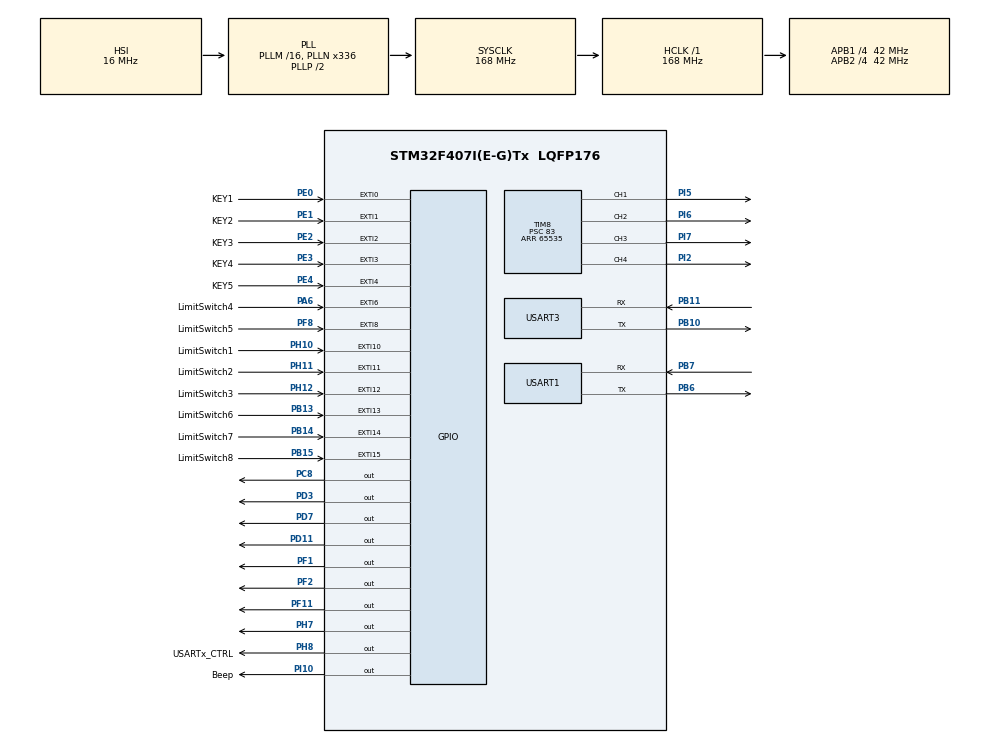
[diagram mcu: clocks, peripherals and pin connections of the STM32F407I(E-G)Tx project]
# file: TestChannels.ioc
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FREERTOS.Tasks01=defaultTask,2,512,StartDefaultTask,Default,NULL,Dynamic,NULL,NULL;LimitSwitch,3,512,StartLimitSwitch,Default,NULL,Dynamic,NULL,NULL;ListenCommand,3,512,StartListenCommand,Default,NULL,Dynamic,NULL,NULL
Mcu.Family=STM32F4
Mcu.Name=STM32F407I(E-G)Tx
Mcu.Package=LQFP176
NVIC.PriorityGroup=NVIC_PRIORITYGROUP_4
NVIC.TIM2_IRQn=true\:15\:0\:false\:false\:true\:false\:false\:true\:true
NVIC.TIM8_BRK_TIM12_IRQn=true\:5\:0\:false\:false\:true\:true\:true\:true\:true
NVIC.TIM8_CC_IRQn=true\:5\:0\:false\:false\:true\:true\:true\:true\:true
NVIC.TIM8_TRG_COM_TIM14_IRQn=true\:5\:0\:false\:false\:true\:true\:true\:true\:true
NVIC.TIM8_UP_TIM13_IRQn=true\:5\:0\:false\:false\:true\:true\:true\:true\:true
NVIC.TimeBase=TIM2_IRQn
NVIC.TimeBaseIP=TIM2
NVIC.USART3_IRQn=true\:5\:0\:false\:false\:true\:true\:true\:true\:true
PA6.GPIO_Label=LimitSwitch4
PA6.GPIO_PuPd=GPIO_PULLUP
PA6.Signal=GPXTI6
PB10.GPIO_Speed=GPIO_SPEED_FREQ_LOW
PB10.Mode=Asynchronous
PB10.Signal=USART3_TX
PB11.GPIO_PuPd=GPIO_NOPULL
PB11.GPIO_Speed=GPIO_SPEED_FREQ_LOW
PB11.Mode=Asynchronous
PB11.Signal=USART3_RX
PB13.GPIO_Label=LimitSwitch6
PB13.GPIO_PuPd=GPIO_PULLUP
PB13.Signal=GPXTI13
PB14.GPIO_Label=LimitSwitch7
PB14.GPIO_PuPd=GPIO_PULLUP
PB14.Signal=GPXTI14
PB15.GPIO_Label=LimitSwitch8
PB15.GPIO_PuPd=GPIO_PULLUP
PB15.Signal=GPXTI15
PB6.Mode=Asynchronous
PB6.Signal=USART1_TX
PB7.Mode=Asynchronous
PB7.Signal=USART1_RX
PC6.Signal=S_TIM3_CH1
PC7.Signal=S_TIM3_CH2
PC8.GPIO_Speed=GPIO_SPEED_FREQ_VERY_HIGH
PC8.Signal=GPIO_Output
PD11.GPIO_Speed=GPIO_SPEED_FREQ_VERY_HIGH
PD11.Signal=GPIO_Output
PD3.GPIO_Speed=GPIO_SPEED_FREQ_VERY_HIGH
PD3.Signal=GPIO_Output
PD7.GPIO_Speed=GPIO_SPEED_FREQ_VERY_HIGH
PD7.Signal=GPIO_Output
PE0.GPIO_Label=KEY1
PE0.Signal=GPXTI0
PE1.GPIO_Label=KEY2
PE1.Signal=GPXTI1
PE2.GPIO_Label=KEY3
PE2.Signal=GPXTI2
PE3.GPIO_Label=KEY4
PE3.Signal=GPXTI3
PE4.GPIO_Label=KEY5
PE4.Signal=GPXTI4
PF1.GPIO_Speed=GPIO_SPEED_FREQ_VERY_HIGH
PF1.Signal=GPIO_Output
PF11.GPIO_Speed=GPIO_SPEED_FREQ_VERY_HIGH
PF11.Signal=GPIO_Output
PF2.GPIO_Speed=GPIO_SPEED_FREQ_VERY_HIGH
PF2.Signal=GPIO_Output
PF8.GPIO_Label=LimitSwitch5
PF8.GPIO_PuPd=GPIO_PULLUP
PF8.Signal=GPXTI8
PH10.GPIO_Label=LimitSwitch1
PH10.GPIO_PuPd=GPIO_PULLUP
PH10.Signal=GPXTI10
PH11.GPIO_Label=LimitSwitch2
PH11.GPIO_PuPd=GPIO_PULLUP
PH11.Signal=GPXTI11
PH12.GPIO_Label=LimitSwitch3
PH12.GPIO_PuPd=GPIO_PULLUP
PH12.Signal=GPXTI12
PH7.GPIO_Speed=GPIO_SPEED_FREQ_VERY_HIGH
PH7.Signal=GPIO_Output
PH8.GPIO_Label=USARTx_CTRL
PH8.GPIO_ModeDefaultOutputPP=GPIO_MODE_OUTPUT_PP
PH8.GPIO_PuPd=GPIO_PULLDOWN
PH8.GPIO_Speed=GPIO_SPEED_FREQ_LOW
PH8.Signal=GPIO_Output
PI10.GPIO_Label=Beep
PI10.Signal=GPIO_Output
PI2.Signal=S_TIM8_CH4
PI5.Signal=S_TIM8_CH1
PI6.Signal=S_TIM8_CH2
PI7.Signal=S_TIM8_CH3
ProjectManager.HeapSize=0x200
ProjectManager.StackSize=0x400
ProjectManager.TargetToolchain=MDK-ARM V5.32
RCC.48MHZClocksFreq_Value=84000000
RCC.AHBFreq_Value=168000000
RCC.APB1CLKDivider=RCC_HCLK_DIV4
RCC.APB1Freq_Value=42000000
RCC.APB1TimFreq_Value=84000000
RCC.APB2CLKDivider=RCC_HCLK_DIV4
RCC.APB2Freq_Value=42000000
RCC.APB2TimFreq_Value=84000000
RCC.CortexFreq_Value=168000000
RCC.HCLKFreq_Value=168000000
RCC.HSE_VALUE=25000000
RCC.HSI_VALUE=16000000
RCC.LSE_VALUE=32768
RCC.PLLN=336
RCC.SYSCLKFreq_VALUE=168000000
RCC.SYSCLKSource=RCC_SYSCLKSOURCE_PLLCLK
RCC.VCOOutputFreq_Value=336000000
SH.S_TIM3_CH1.0=TIM3_CH1
SH.S_TIM3_CH2.0=TIM3_CH2
SH.S_TIM8_CH1.0=TIM8_CH1,Output Compare1 CH1
SH.S_TIM8_CH2.0=TIM8_CH2,Output Compare2 CH2
SH.S_TIM8_CH3.0=TIM8_CH3,Output Compare3 CH3
SH.S_TIM8_CH4.0=TIM8_CH4,Output Compare4 CH4
TIM3.Period=0xffff
TIM3.Prescaler=83
TIM5.Period=0xffffffff
TIM5.Prescaler=83
TIM8.Channel-Output\ Compare1\ CH1=TIM_CHANNEL_1
TIM8.Channel-Output\ Compare2\ CH2=TIM_CHANNEL_2
TIM8.Channel-Output\ Compare3\ CH3=TIM_CHANNEL_3
TIM8.Channel-Output\ Compare4\ CH4=TIM_CHANNEL_4
TIM8.OCMode_1=TIM_OCMODE_TOGGLE
TIM8.OCMode_2=TIM_OCMODE_TOGGLE
TIM8.OCMode_3=TIM_OCMODE_TOGGLE
TIM8.OCMode_4=TIM_OCMODE_TOGGLE
TIM8.Period=65535
TIM8.Prescaler=83
USART1.VirtualMode=VM_ASYNC
USART3.VirtualMode=VM_ASYNC
VP_FREERTOS_VS_CMSIS_V1.Mode=CMSIS_V1
VP_SYS_VS_tim2.Mode=TIM2
VP_TIM3_VS_ClockSourceINT.Mode=Internal
VP_TIM5_VS_ClockSourceINT.Mode=Internal
VP_TIM8_VS_ClockSourceINT.Mode=Internal
board=custom

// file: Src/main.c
/* USER CODE BEGIN Header */
/**
  ******************************************************************************
  * @file           : main.c
  * @brief          : Main program body
  ******************************************************************************
  * @attention
  *
  * Copyright (c) 2025 STMicroelectronics.
  * All rights reserved.
  *
  * This software is licensed under terms that can be found in the LICENSE file
  * in the root directory of this software component.
  * If no LICENSE file comes with this software, it is provided AS-IS.
  *
  ******************************************************************************
  */
/* USER CODE END Header */
#include "main.h"
#include "cmsis_os.h"
#include "tim.h"
#include "usart.h"
#include "gpio.h"

/* USER CODE BEGIN Includes */
#include <string.h>
#include "rs485.h"
/* USER CODE END Includes */

void SystemClock_Config(void);
void MX_FREERTOS_Init(void);

/* USER CODE BEGIN 0 */
void RS485_NVIC_Enable(void)
{
    /*  ????????? 5 ????????? ??? FreeRTOS ( > configMAX_SYSCALL_INTERRUPT_PRIORITY = 4 )  */
    HAL_NVIC_SetPriority(USART3_IRQn, 5, 0);
    HAL_NVIC_EnableIRQ (USART3_IRQn);
}
/* USER CODE END 0 */

int main(void)
{

  /* MCU Configuration--------------------------------------------------------*/

  /* Reset of all peripherals, Initializes the Flash interface and the Systick. */
  HAL_Init();

  /* Configure the system clock */
  SystemClock_Config();

  /* Initialize all configured peripherals */
  MX_GPIO_Init();
  MX_TIM3_Init();
  MX_TIM8_Init();
  MX_USART1_UART_Init();
  MX_USART3_UART_Init();
  MX_TIM5_Init();
  /* USER CODE BEGIN 2 */
	AddLog(0x1000);
  /* USER CODE END 2 */

  /* Call init function for freertos objects (in cmsis_os2.c) */
  MX_FREERTOS_Init();

  /* Start scheduler */
  osKernelStart();

  /* We should never get here as control is now taken by the scheduler */

  /* Infinite loop */
  /* USER CODE BEGIN WHILE */
	UART_SendString("FreeRTOS tasks is not started!\r\n");
  while (1)
  {
    /* USER CODE END WHILE */

  }
}

void SystemClock_Config(void)
{
  RCC_OscInitTypeDef RCC_OscInitStruct = {0};
  RCC_ClkInitTypeDef RCC_ClkInitStruct = {0};

  /** Configure the main internal regulator output voltage
  */
  __HAL_RCC_PWR_CLK_ENABLE();
  __HAL_PWR_VOLTAGESCALING_CONFIG(PWR_REGULATOR_VOLTAGE_SCALE1);

  /** Initializes the RCC Oscillators according to the specified parameters
  * in the RCC_OscInitTypeDef structure.
  */
  RCC_OscInitStruct.OscillatorType = RCC_OSCILLATORTYPE_HSI;
  RCC_OscInitStruct.HSIState = RCC_HSI_ON;
  RCC_OscInitStruct.HSICalibrationValue = RCC_HSICALIBRATION_DEFAULT;
  RCC_OscInitStruct.PLL.PLLState = RCC_PLL_ON;
  RCC_OscInitStruct.PLL.PLLSource = RCC_PLLSOURCE_HSI;
  RCC_OscInitStruct.PLL.PLLM = 16;
  RCC_OscInitStruct.PLL.PLLN = 336;
  RCC_OscInitStruct.PLL.PLLP = RCC_PLLP_DIV2;
  RCC_OscInitStruct.PLL.PLLQ = 4;
  if (HAL_RCC_OscConfig(&RCC_OscInitStruct) != HAL_OK)
  {
    Error_Handler();
  }

  /** Initializes the CPU, AHB and APB buses clocks
  */
  RCC_ClkInitStruct.ClockType = RCC_CLOCKTYPE_HCLK|RCC_CLOCKTYPE_SYSCLK
                              |RCC_CLOCKTYPE_PCLK1|RCC_CLOCKTYPE_PCLK2;
  RCC_ClkInitStruct.SYSCLKSource = RCC_SYSCLKSOURCE_PLLCLK;
  RCC_ClkInitStruct.AHBCLKDivider = RCC_SYSCLK_DIV1;
  RCC_ClkInitStruct.APB1CLKDivider = RCC_HCLK_DIV4;
  RCC_ClkInitStruct.APB2CLKDivider = RCC_HCLK_DIV4;

  if (HAL_RCC_ClockConfig(&RCC_ClkInitStruct, FLASH_LATENCY_5) != HAL_OK)
  {
    Error_Handler();
  }
}

void HAL_TIM_PeriodElapsedCallback(TIM_HandleTypeDef *htim)
{
  if (htim->Instance == TIM2)
  {
    HAL_IncTick();
  }
}

void Error_Handler(void)
{
  __disable_irq();
  while (1)
  {
  }
}

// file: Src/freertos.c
/* USER CODE BEGIN Header */
/**
  ******************************************************************************
  * File Name          : freertos.c
  * Description        : Code for freertos applications
  ******************************************************************************
  * @attention
  *
  * Copyright (c) 2025 STMicroelectronics.
  * All rights reserved.
  *
  * This software is licensed under terms that can be found in the LICENSE file
  * in the root directory of this software component.
  * If no LICENSE file comes with this software, it is provided AS-IS.
  *
  ******************************************************************************
  */
/* USER CODE END Header */

#include "FreeRTOS.h"
#include "task.h"
#include "main.h"
#include "cmsis_os.h"

/* USER CODE BEGIN Includes */
#include "stdio.h"
#include "tim.h"
#include "usart.h"
#include "gpio.h"
#include "motor.h"
#include "rs485.h"
#include "queue.h"

/* USER CODE END Includes */

/* USER CODE BEGIN PD */
#define LIMIT_SWITCH_BEEP_MS   250U
#define LIMIT_SWITCH_BEEP_DEBOUNCE_MS  80U
#define BUZZER_QUEUE_LEN       8U
#define BUZZER_ON_STATE        GPIO_PIN_SET
#define BUZZER_OFF_STATE       GPIO_PIN_RESET
#define BUZZER_HALF_PERIOD_MS  1U
#define BUZZER_DC_BURST_MS     100U
#define KEY_DEBOUNCE_MS        25U

/* USER CODE END PD */

/* USER CODE BEGIN Variables */
static QueueHandle_t buzzerQueue = NULL;
static uint8_t prevLimitSwitches[4] = {1, 1, 1, 1};
static uint8_t limitSwitchStateReady = 0;
static TickType_t lastLimitSwitchBeepTick = 0;
static uint8_t keyStablePressed[5] = {0};
static uint8_t keyRawPressed[5] = {0};
static TickType_t keyLastChangeTick[5] = {0};

/* USER CODE END Variables */
osThreadId defaultTaskHandle;
osThreadId LimitSwitchHandle;
osThreadId ListenCommandHandle;
osThreadId BuzzerHandle;

/* USER CODE BEGIN FunctionPrototypes */
static void Buzzer_RequestMs(uint16_t duration_ms);
static uint8_t Key_ReadRawPressed(uint8_t keyIndex);
static void Keys_Init(void);
static uint8_t Key_GetPressEvent(uint8_t keyIndex, TickType_t now);
static uint8_t AxisMovingTowardLimit(uint8_t axisIndex);
/* USER CODE END FunctionPrototypes */

void StartDefaultTask(void const * argument);
void StartLimitSwitch(void const * argument);
void StartListenCommand(void const * argument);
void StartBuzzer(void const * argument);

void MX_FREERTOS_Init(void); /* (MISRA C 2004 rule 8.1) */

/* GetIdleTaskMemory prototype (linked to static allocation support) */
void vApplicationGetIdleTaskMemory( StaticTask_t **ppxIdleTaskTCBBuffer, StackType_t **ppxIdleTaskStackBuffer, uint32_t *pulIdleTaskStackSize );

/* USER CODE BEGIN GET_IDLE_TASK_MEMORY */
static StaticTask_t xIdleTaskTCBBuffer;
static StackType_t xIdleStack[configMINIMAL_STACK_SIZE];

void vApplicationGetIdleTaskMemory( StaticTask_t **ppxIdleTaskTCBBuffer, StackType_t **ppxIdleTaskStackBuffer, uint32_t *pulIdleTaskStackSize )
{
  *ppxIdleTaskTCBBuffer = &xIdleTaskTCBBuffer;
  *ppxIdleTaskStackBuffer = &xIdleStack[0];
  *pulIdleTaskStackSize = configMINIMAL_STACK_SIZE;
  /* place for user code */
}
/* USER CODE END GET_IDLE_TASK_MEMORY */

void MX_FREERTOS_Init(void) {

  /* USER CODE BEGIN RTOS_QUEUES */
  /* add queues, ... */
  buzzerQueue = xQueueCreate(BUZZER_QUEUE_LEN, sizeof(uint16_t));
  if (buzzerQueue == NULL) {
    AddLog(0x4111);
  }
  /* USER CODE END RTOS_QUEUES */

  /* Create the thread(s) */
  /* definition and creation of defaultTask */
  osThreadDef(defaultTask, StartDefaultTask, osPriorityHigh, 0, 512);
  defaultTaskHandle = osThreadCreate(osThread(defaultTask), NULL);

  /* definition and creation of LimitSwitch */
  osThreadDef(LimitSwitch, StartLimitSwitch, osPriorityRealtime, 0, 512);
  LimitSwitchHandle = osThreadCreate(osThread(LimitSwitch), NULL);

  /* definition and creation of ListenCommand */
  osThreadDef(ListenCommand, StartListenCommand, osPriorityRealtime, 0, 512);
  ListenCommandHandle = osThreadCreate(osThread(ListenCommand), NULL);

  /* definition and creation of Buzzer */
  osThreadDef(Buzzer, StartBuzzer, osPriorityRealtime, 0, 128);
  BuzzerHandle = osThreadCreate(osThread(Buzzer), NULL);

}

static uint8_t Key_ReadRawPressed(uint8_t keyIndex)
{
  switch (keyIndex)
  {
    case 0: return (KEY1_pressed() == 0) ? 1U : 0U;
    case 1: return (KEY2_pressed() == 0) ? 1U : 0U;
    case 2: return (KEY3_pressed() == 0) ? 1U : 0U;
    case 3: return (KEY4_pressed() == 0) ? 1U : 0U;
    case 4: return (KEY5_pressed() == 0) ? 1U : 0U;
    default: return 0U;
  }
}

static void Keys_Init(void)
{
  TickType_t now = xTaskGetTickCount();

  for (uint8_t i = 0; i < 5U; ++i)
  {
    keyRawPressed[i] = 0U;
    keyStablePressed[i] = 0U;
    keyLastChangeTick[i] = now;
  }
}

static uint8_t Key_GetPressEvent(uint8_t keyIndex, TickType_t now)
{
  uint8_t raw = Key_ReadRawPressed(keyIndex);

  if (raw != keyRawPressed[keyIndex])
  {
    keyRawPressed[keyIndex] = raw;
    keyLastChangeTick[keyIndex] = now;
  }

  if ((now - keyLastChangeTick[keyIndex]) >= pdMS_TO_TICKS(KEY_DEBOUNCE_MS))
  {
    if (keyStablePressed[keyIndex] != keyRawPressed[keyIndex])
    {
      keyStablePressed[keyIndex] = keyRawPressed[keyIndex];
      if (keyStablePressed[keyIndex] != 0U)
      {
        return 1U;
      }
    }
  }

  return 0U;
}

static uint8_t AxisMovingTowardLimit(uint8_t axisIndex)
{
  if (axisIndex >= 3U)
  {
    return 0U;
  }

  if ((run[axisIndex].pf == NULL) || (run[axisIndex].left == 0U))
  {
    return 0U;
  }

  /* For this machine, dir=0 is the direction that pushes into limit switches. */
  return (run[axisIndex].pf[run[axisIndex].seg].dir == 0) ? 1U : 0U;
}
void StartDefaultTask(void const * argument)
{
  /* USER CODE BEGIN StartDefaultTask */
  (void)argument;
	AddLog(0x1001);
  AxisCounters_Init();
  Keys_Init();
	TickType_t xLastWakeTime = xTaskGetTickCount();
	const TickType_t xFrequency = pdMS_TO_TICKS(1);
  /* Infinite loop */
  for(;;)
  {
    TickType_t now = xTaskGetTickCount();

    if (Key_GetPressEvent(0, now) != 0U)
    {
      is_on = 1;
      alarm = 0;
      ready = 0;
      rs_mode = 1;
      MotorEnable();

      if (CalibrationRequest())
      {
        UART_SendString("KEY1 pressed > calibration start\r\n");
        AddLog(0x1012);
      }
      else
      {
        UART_SendString("KEY1 pressed > calibration busy\r\n");
        AddLog(0x2012);
      }
    }

    if ((Key_GetPressEvent(1, now) != 0U) && is_on && !alarm && ready)
    {
      rs_mode = 1;
      time_captured = 0;
      real_time_us = 0;
      BuildProfileFromAngleSegments(angle_segments, 50, 5000);
      UART_SendString("KEY2 pressed > Counterclockwise\r\n");
      AddLog(0x1005);
    }

    if ((Key_GetPressEvent(2, now) != 0U) && is_on && !alarm && ready)
    {
      rs_mode = 1;
      MotorStart();
      rotateRevers();
      StartTrajectory();
      UART_SendString("KEY3 pressed > Clockwise\r\n");
      AddLog(0x1006);
    }

    if (Key_GetPressEvent(3, now) != 0U)
    {
      MotorDisable();
      UART_SendString("Timer 8 stopped\r\n");
      HAL_TIM_OC_Stop_IT(&htim8, TIM_CHANNEL_1);
      HAL_TIM_OC_Stop_IT(&htim8, TIM_CHANNEL_2);
      HAL_TIM_OC_Stop_IT(&htim8, TIM_CHANNEL_3);
      HAL_TIM_OC_Stop_IT(&htim8, TIM_CHANNEL_4);

      for (int i = 0; i < 4; i++)
      {
        reversingInProgress[i] = 0;
      }

      is_on = 0;
      ready = 0;
      UART_SendString("KEY4 pressed > driver deactivated\r\n");
      UART_SendString("All motors disabled\r\n");
      AddLog(0x1007);
    }

    if (Key_GetPressEvent(4, now) != 0U)
    {
      PrintLastErrors();
      UART_SendString("KEY5 pressed > display logs\r\n");
      AddLog(0x1008);
    }

    RefreshReadyFlag();
    vTaskDelayUntil(&xLastWakeTime, xFrequency);
  }
  /* USER CODE END StartDefaultTask */
}

void StartLimitSwitch(void const * argument)
{
  /* USER CODE BEGIN StartLimitSwitch */
	AddLog(0x1002);
	const TickType_t delay = pdMS_TO_TICKS(2);

  for(;;)
  {
    CheckInsideLimitSwitches();

    if (!limitSwitchStateReady)
    {
      for (uint8_t i = 0; i < 4; ++i)
      {
        prevLimitSwitches[i] = limitSwitches[i];
      }
      lastLimitSwitchBeepTick = xTaskGetTickCount();
      limitSwitchStateReady = 1;
    }
    else
    {
      for (uint8_t i = 0; i < 4; ++i)
      {
        if (prevLimitSwitches[i] == 1 && limitSwitches[i] == 0)
        {
          TickType_t now = xTaskGetTickCount();
          if ((now - lastLimitSwitchBeepTick) >= pdMS_TO_TICKS(LIMIT_SWITCH_BEEP_DEBOUNCE_MS))
          {
            AddLog((uint16_t)(0x1100U + i));
            Buzzer_RequestMs(LIMIT_SWITCH_BEEP_MS);
            lastLimitSwitchBeepTick = now;
          }
        }
        prevLimitSwitches[i] = limitSwitches[i];
      }
    }

		if (calibState == CAL_IDLE)
    {
		  for (uint8_t i = 0; i < 3; ++i)   /* motors 1-3 (index 0-2) */
      {
          /* Generic safety stop is disabled during calibration,
             otherwise release trajectory (back-off) is blocked. */
          if (limitSwitches[i] == 0 &&
              g_motorRunning[i] &&
              !reversingInProgress[i] &&
              (AxisMovingTowardLimit(i) != 0U))
          {
              MotorStopSingle(i);
              vTaskDelay(pdMS_TO_TICKS(10));
          }
      }
    }
		CalibrationTick();
    RefreshReadyFlag();

		vTaskDelay(delay);
  }
  /* USER CODE END StartLimitSwitch */
}

void StartListenCommand(void const * argument)
{
  /* USER CODE BEGIN StartListenCommand */
	AddLog(0x1003);
	TickType_t xLastWakeTime = xTaskGetTickCount();
	const TickType_t xFrequency = pdMS_TO_TICKS(1);
  /* Infinite loop */
	for(;;)
		{
			RefreshReadyFlag();
			RS485_USARTx_ProcessModbus();
			if (is_on && ready) {
				MotorEnable();
			//	display_system_info();
			}
			vTaskDelayUntil(&xLastWakeTime, xFrequency);
		}
  /* USER CODE END StartListenCommand */
}

void StartBuzzer(void const * argument)
{
  (void)argument;
  uint16_t duration_ms = 0;
  HAL_GPIO_WritePin(Beep_GPIO_Port, Beep_Pin, BUZZER_OFF_STATE);
  AddLog(0x1111);

  for (;;)
  {
    if ((buzzerQueue != NULL) &&
        (xQueueReceive(buzzerQueue, &duration_ms, portMAX_DELAY) == pdPASS))
    {
      uint16_t elapsed_ms = 0;
      uint16_t dc_burst_ms = duration_ms;
      if (dc_burst_ms > BUZZER_DC_BURST_MS)
      {
        dc_burst_ms = BUZZER_DC_BURST_MS;
      }

      AddLog(0x1110);

      HAL_GPIO_WritePin(Beep_GPIO_Port, Beep_Pin, BUZZER_ON_STATE);
      vTaskDelay(pdMS_TO_TICKS(dc_burst_ms));
      elapsed_ms = dc_burst_ms;

      while (elapsed_ms < duration_ms)
      {
        HAL_GPIO_WritePin(Beep_GPIO_Port, Beep_Pin, BUZZER_ON_STATE);
        vTaskDelay(pdMS_TO_TICKS(BUZZER_HALF_PERIOD_MS));
        elapsed_ms = (uint16_t)(elapsed_ms + BUZZER_HALF_PERIOD_MS);

        if (elapsed_ms >= duration_ms)
        {
          break;
        }

        HAL_GPIO_WritePin(Beep_GPIO_Port, Beep_Pin, BUZZER_OFF_STATE);
        vTaskDelay(pdMS_TO_TICKS(BUZZER_HALF_PERIOD_MS));
        elapsed_ms = (uint16_t)(elapsed_ms + BUZZER_HALF_PERIOD_MS);
      }

      HAL_GPIO_WritePin(Beep_GPIO_Port, Beep_Pin, BUZZER_OFF_STATE);
    }
  }
}

static void Buzzer_RequestMs(uint16_t duration_ms)
{
  if (duration_ms == 0U)
  {
    return;
  }

  if (buzzerQueue == NULL)
  {
    AddLog(0x4111);
    return;
  }

  if (xQueueSend(buzzerQueue, &duration_ms, 0) != pdPASS)
  {
    AddLog(0x4110);
  }
}

/* USER CODE BEGIN Application */
void HAL_TIM_OC_DelayElapsedCallback(TIM_HandleTypeDef *htim)
{
    Motor_UpdateCompare(htim);
}
/* USER CODE END Application */
